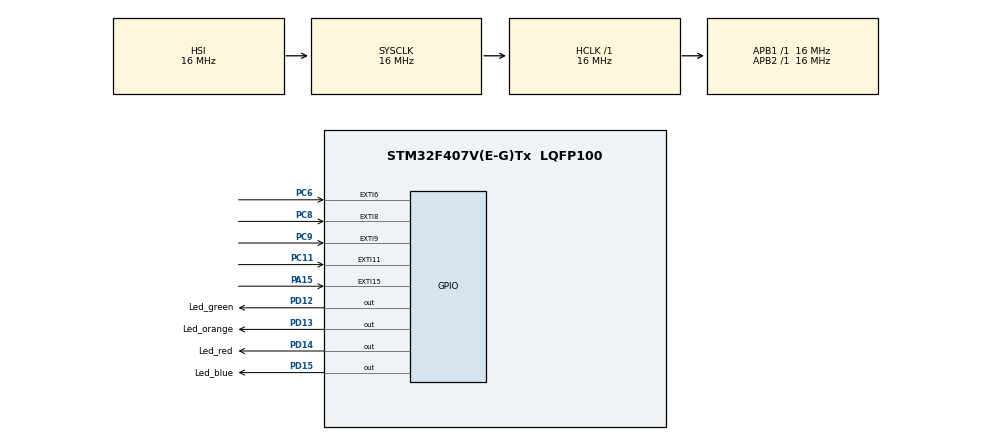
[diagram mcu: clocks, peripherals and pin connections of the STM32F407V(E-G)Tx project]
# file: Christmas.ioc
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Mcu.Family=STM32F4
Mcu.Name=STM32F407V(E-G)Tx
Mcu.Package=LQFP100
NVIC.EXTI15_10_IRQn=true\:0\:0\:false\:false\:true\:true\:true\:true
NVIC.EXTI9_5_IRQn=true\:0\:0\:false\:false\:true\:true\:true\:true
NVIC.PriorityGroup=NVIC_PRIORITYGROUP_4
PA15.Signal=GPXTI15
PC11.Signal=GPXTI11
PC6.Signal=GPXTI6
PC8.Signal=GPXTI8
PC9.Signal=GPXTI9
PD12.GPIO_Label=Led_green
PD12.Signal=GPIO_Output
PD13.GPIO_Label=Led_orange
PD13.Signal=GPIO_Output
PD14.GPIO_Label=Led_red
PD14.Signal=GPIO_Output
PD15.GPIO_Label=Led_blue
PD15.Signal=GPIO_Output
ProjectManager.HeapSize=0x200
ProjectManager.StackSize=0x400
ProjectManager.TargetToolchain=STM32CubeIDE
RCC.AHBFreq_Value=16000000
RCC.APB1Freq_Value=16000000
RCC.APB2Freq_Value=16000000
RCC.CortexFreq_Value=16000000
RCC.HSE_VALUE=25000000
RCC.HSI_VALUE=16000000
RCC.LSE_VALUE=32768
RCC.SYSCLKFreq_VALUE=16000000
RCC.VCOOutputFreq_Value=192000000
board=custom

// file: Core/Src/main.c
/* USER CODE BEGIN Header */
/**
  ******************************************************************************
  * @file           : main.c
  * @brief          : Main program body
  ******************************************************************************
  * @attention
  *
  * Copyright (c) 2026 STMicroelectronics.
  * All rights reserved.
  *
  * This software is licensed under terms that can be found in the LICENSE file
  * in the root directory of this software component.
  * If no LICENSE file comes with this software, it is provided AS-IS.
  *
  ******************************************************************************
  */
/* USER CODE END Header */
#include "main.h"
#include "gpio.h"

/* USER CODE BEGIN PV */
uint16_t speed=1000;
volatile uint8_t mode=0;
volatile uint32_t time_PC6=0;
volatile uint32_t time_PC8=0;
volatile uint32_t time_PC9=0;
volatile uint32_t time_PC11=0;
volatile uint32_t time_PA15=0;
/* USER CODE END PV */

void SystemClock_Config(void);

int main(void)
{

  /* MCU Configuration--------------------------------------------------------*/

  /* Reset of all peripherals, Initializes the Flash interface and the Systick. */
  HAL_Init();

  /* Configure the system clock */
  SystemClock_Config();

  /* Initialize all configured peripherals */
  MX_GPIO_Init();

  /* Infinite loop */
  while (1)
  {

    /* USER CODE BEGIN 3 */
	  switch(mode){
	  case 0:
		  HAL_GPIO_WritePin(GPIOD, (GPIO_PIN_15|GPIO_PIN_14|GPIO_PIN_13|GPIO_PIN_12), GPIO_PIN_SET);
		  HAL_Delay(speed);
		  HAL_GPIO_WritePin(GPIOD, (GPIO_PIN_15|GPIO_PIN_14|GPIO_PIN_13|GPIO_PIN_12), GPIO_PIN_RESET);
		  HAL_Delay(speed);
		  break;
	  case 1:
		  HAL_GPIO_WritePin(GPIOD, GPIO_PIN_14, GPIO_PIN_SET);
		  HAL_GPIO_WritePin(GPIOD, (GPIO_PIN_15|GPIO_PIN_13|GPIO_PIN_12), GPIO_PIN_RESET);
		  HAL_Delay(speed);
		  HAL_GPIO_WritePin(GPIOD, GPIO_PIN_15, GPIO_PIN_SET);
		  HAL_GPIO_WritePin(GPIOD, (GPIO_PIN_14|GPIO_PIN_13|GPIO_PIN_12), GPIO_PIN_RESET);
		  HAL_Delay(speed);
		  HAL_GPIO_WritePin(GPIOD, GPIO_PIN_12, GPIO_PIN_SET);
		  HAL_GPIO_WritePin(GPIOD, (GPIO_PIN_15|GPIO_PIN_14|GPIO_PIN_13), GPIO_PIN_RESET);
		  HAL_Delay(speed);
		  HAL_GPIO_WritePin(GPIOD, GPIO_PIN_13, GPIO_PIN_SET);
		  HAL_GPIO_WritePin(GPIOD, (GPIO_PIN_15|GPIO_PIN_12|GPIO_PIN_14), GPIO_PIN_RESET);
		  HAL_Delay(speed);
		  break;
	  case 2:
		  HAL_GPIO_WritePin(GPIOD, (GPIO_PIN_15|GPIO_PIN_13), GPIO_PIN_SET);
		  HAL_GPIO_WritePin(GPIOD, (GPIO_PIN_14|GPIO_PIN_12), GPIO_PIN_RESET);
		  HAL_Delay(speed);
		  HAL_GPIO_WritePin(GPIOD, (GPIO_PIN_15|GPIO_PIN_13), GPIO_PIN_RESET);
		  HAL_GPIO_WritePin(GPIOD, (GPIO_PIN_14|GPIO_PIN_12), GPIO_PIN_SET);
		  HAL_Delay(speed);
		  break;
	  case 3:
		  HAL_GPIO_WritePin(GPIOD, (GPIO_PIN_15|GPIO_PIN_14|GPIO_PIN_13|GPIO_PIN_12), GPIO_PIN_RESET);
		  break;

	  default:
		  HAL_GPIO_WritePin(GPIOD, (GPIO_PIN_15|GPIO_PIN_14|GPIO_PIN_13|GPIO_PIN_12), GPIO_PIN_RESET);
		  break;
	  }

  }
  /* USER CODE END 3 */
}

void SystemClock_Config(void)
{
  RCC_OscInitTypeDef RCC_OscInitStruct = {0};
  RCC_ClkInitTypeDef RCC_ClkInitStruct = {0};

  /** Configure the main internal regulator output voltage
  */
  __HAL_RCC_PWR_CLK_ENABLE();
  __HAL_PWR_VOLTAGESCALING_CONFIG(PWR_REGULATOR_VOLTAGE_SCALE1);

  /** Initializes the RCC Oscillators according to the specified parameters
  * in the RCC_OscInitTypeDef structure.
  */
  RCC_OscInitStruct.OscillatorType = RCC_OSCILLATORTYPE_HSI;
  RCC_OscInitStruct.HSIState = RCC_HSI_ON;
  RCC_OscInitStruct.HSICalibrationValue = RCC_HSICALIBRATION_DEFAULT;
  RCC_OscInitStruct.PLL.PLLState = RCC_PLL_NONE;
  if (HAL_RCC_OscConfig(&RCC_OscInitStruct) != HAL_OK)
  {
    Error_Handler();
  }

  /** Initializes the CPU, AHB and APB buses clocks
  */
  RCC_ClkInitStruct.ClockType = RCC_CLOCKTYPE_HCLK|RCC_CLOCKTYPE_SYSCLK
                              |RCC_CLOCKTYPE_PCLK1|RCC_CLOCKTYPE_PCLK2;
  RCC_ClkInitStruct.SYSCLKSource = RCC_SYSCLKSOURCE_HSI;
  RCC_ClkInitStruct.AHBCLKDivider = RCC_SYSCLK_DIV1;
  RCC_ClkInitStruct.APB1CLKDivider = RCC_HCLK_DIV1;
  RCC_ClkInitStruct.APB2CLKDivider = RCC_HCLK_DIV1;

  if (HAL_RCC_ClockConfig(&RCC_ClkInitStruct, FLASH_LATENCY_0) != HAL_OK)
  {
    Error_Handler();
  }
}

/* USER CODE BEGIN 4 */
uint8_t is_debounced(volatile uint32_t *last_tick){
	uint32_t current_tick=HAL_GetTick();
	if (current_tick-*last_tick>50){
		*last_tick=current_tick;
		return 1;
	}
	return 0;
}
void HAL_GPIO_EXTI_Callback(uint16_t GPIO_Pin){
	switch(GPIO_Pin){
	case GPIO_PIN_6://SWT4
		if(is_debounced(&time_PC6)&& HAL_GPIO_ReadPin(GPIOC, GPIO_PIN_6)==GPIO_PIN_SET)
		{
			if(mode==2)
			{
				mode=0;
			}else mode++;
		}
		break;
	case GPIO_PIN_8://SWT5
		if(is_debounced(&time_PC8)&& HAL_GPIO_ReadPin(GPIOC, GPIO_PIN_8)==GPIO_PIN_SET)
		{
			if(mode==0){
					mode=2;
			}else mode--;
		}
		break;
	case GPIO_PIN_11://SWT3
		if(is_debounced(&time_PC11)&& HAL_GPIO_ReadPin(GPIOC, GPIO_PIN_11)==GPIO_PIN_SET)
		{
			if(speed>=400) speed-=200;

		}
		break;
	case GPIO_PIN_9://SWT1
		if(is_debounced(&time_PC9)&& HAL_GPIO_ReadPin(GPIOC, GPIO_PIN_9)==GPIO_PIN_SET)
		{
			if(speed<=1000) speed+=200;
		}
		break;
	case GPIO_PIN_15://SWT2
		if(is_debounced(&time_PA15)&& HAL_GPIO_ReadPin(GPIOA, GPIO_PIN_15)==GPIO_PIN_SET)
		{
			if(mode!=3){
			mode=3;
			}else
				mode=0;
		}
		break;
	default:
		 HAL_GPIO_WritePin(GPIOD, (GPIO_PIN_15|GPIO_PIN_14|GPIO_PIN_13|GPIO_PIN_12), GPIO_PIN_RESET);

		break;
	}

}
/* USER CODE END 4 */

void Error_Handler(void)
{
  __disable_irq();
  while (1)
  {
  }
}
